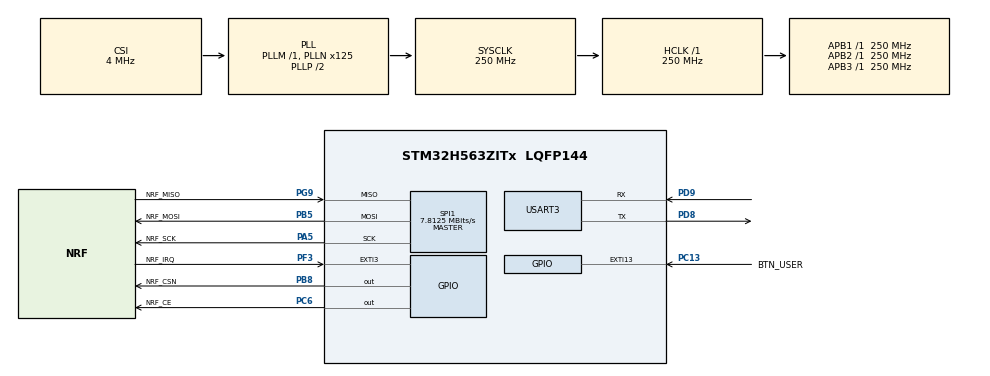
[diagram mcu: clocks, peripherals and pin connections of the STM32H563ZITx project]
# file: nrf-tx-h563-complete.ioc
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CORTEX_M33_NS.userName=CORTEX_M33
Mcu.Family=STM32H5
Mcu.Name=STM32H563ZITx
Mcu.Package=LQFP144
NVIC.EXTI13_IRQn=true\:0\:0\:false\:false\:true\:true\:true\:true
NVIC.EXTI3_IRQn=true\:0\:0\:false\:false\:true\:true\:true\:true
NVIC.PriorityGroup=NVIC_PRIORITYGROUP_4
PA5.GPIO_Label=NRF_SCK
PA5.Mode=Full_Duplex_Master
PA5.Signal=SPI1_SCK
PB5.GPIO_Label=NRF_MOSI
PB5.Mode=Full_Duplex_Master
PB5.Signal=SPI1_MOSI
PB8.GPIO_Label=NRF_CSN
PB8.Signal=GPIO_Output
PC13.GPIO_Label=BTN_USER
PC13.Signal=GPXTI13
PC6.GPIO_Label=NRF_CE
PC6.Signal=GPIO_Output
PD8.Mode=Asynchronous
PD8.Signal=USART3_TX
PD9.Mode=Asynchronous
PD9.Signal=USART3_RX
PF3.GPIO_Label=NRF_IRQ
PF3.GPIO_ModeDefaultEXTI=GPIO_MODE_IT_FALLING
PF3.Signal=GPXTI3
PG9.GPIO_Label=NRF_MISO
PG9.Mode=Full_Duplex_Master
PG9.Signal=SPI1_MISO
ProjectManager.HeapSize=0x200
ProjectManager.StackSize=0x400
ProjectManager.TargetToolchain=STM32CubeIDE
RCC.ADCFreq_Value=250000000
RCC.AHBFreq_Value=250000000
RCC.APB1Freq_Value=250000000
RCC.APB1TimFreq_Value=250000000
RCC.APB2Freq_Value=250000000
RCC.APB2TimFreq_Value=250000000
RCC.APB3Freq_Value=250000000
RCC.CSI_VALUE=4000000
RCC.CortexFreq_Value=250000000
RCC.EPOD_VALUE=4000000
RCC.HCLKFreq_Value=250000000
RCC.HSE_VALUE=25000000
RCC.HSI48_VALUE=48000000
RCC.HSI_VALUE=64000000
RCC.LSE_VALUE=32768
RCC.LSIRC_VALUE=32000
RCC.PLL2FRACN=0
RCC.PLL3FRACN=0
RCC.PLLFRACN=0
RCC.PLLN=125
RCC.SYSCLKFreq_VALUE=250000000
RCC.SYSCLKSource=RCC_SYSCLKSOURCE_PLLCLK
RCC.USBFreq_Value=48000000
RCC.VCOOutputFreq_Value=500000000
SPI1.BaudRatePrescaler=SPI_BAUDRATEPRESCALER_32
SPI1.CalculateBaudRate=7.8125 MBits/s
SPI1.DataSize=SPI_DATASIZE_8BIT
SPI1.Direction=SPI_DIRECTION_2LINES
SPI1.Mode=SPI_MODE_MASTER
SPI1.VirtualType=VM_MASTER
USART3.VirtualMode=VM_ASYNC
VP_BOOTPATH_VS_BOOTPATH.Mode=BP_Activate
VP_MEMORYMAP_VS_MEMORYMAP.Mode=CurAppReg
VP_PWR_VS_DBSignals.Mode=DisableDeadBatterySignals
VP_PWR_VS_LPOM.Mode=PowerOptimisation
VP_PWR_VS_SECSignals.Mode=Security/Privilege
board=custom

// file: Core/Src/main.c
/* USER CODE BEGIN Header */
/**
  ******************************************************************************
  * @file           : main.c
  * @brief          : Main program body
  ******************************************************************************
  * @attention
  *
  * Copyright (c) 2023 STMicroelectronics.
  * All rights reserved.
  *
  * This software is licensed under terms that can be found in the LICENSE file
  * in the root directory of this software component.
  * If no LICENSE file comes with this software, it is provided AS-IS.
  *
  ******************************************************************************
  */
/* USER CODE END Header */
#include "main.h"

/* USER CODE BEGIN Includes */
#include <stdio.h>
#include "nrf24l01.h"
/* USER CODE END Includes */

SPI_HandleTypeDef hspi1;

UART_HandleTypeDef huart3;

void SystemClock_Config(void);
static void MX_GPIO_Init(void);
static void MX_MEMORYMAP_Init(void);
static void MX_SPI1_Init(void);
static void MX_USART3_UART_Init(void);

/* USER CODE BEGIN 0 */

/**************************************
 *           EXAMPLE CODE BEGIN
 **************************************/

// BEGIN REDIRECT
// This is used to redirect printf to UART
#ifdef __GNUC__
#define PUTCHAR_PROTOTYPE int __io_putchar(int ch)
#else
#define PUTCHAR_PROTOTYPE int fputc(int ch, FILE *f)
#endif

PUTCHAR_PROTOTYPE
{
  HAL_UART_Transmit(&huart3, (uint8_t *)&ch, 1, HAL_MAX_DELAY);
  return ch;
}
// END REDIRECT

/* Variables */

// We'll send to different pipes on the receiver by using
// different addresses.
//
// The address for pipe 0 and 1 can contain 40 bits,
// but pipes 2-5 use bytes 39:8 of pipe 1 and only define
// the lower eight bits manually.
//
// We define all bits here to make it easier changing TX
// address later on.
uint8_t addresses[6][5] = {
  {0x00,0x10,0x20,0x30,0x40},
  {0x40,0x30,0x20,0x10,0x00},
  {0x57,0x30,0x20,0x10,0x00},
  {0x96,0x30,0x20,0x10,0x00},
  {0x13,0x30,0x20,0x10,0x00},
  {0x37,0x30,0x20,0x10,0x00},
};
uint8_t currAddr = 0;

// These are used to send different data.
uint8_t charToSend = 'a';
uint8_t length = 1;

/* Functions */

// Just used to easily print what address we're sending to.
void printTXAddress() {
  uint8_t txAddr[5];
  NRF_ReadRegister(NRF_REG_TX_ADDR, txAddr, 5);
  for (int i = 0; i < 5; i++) {
    printf("%2x ", txAddr[i]);
  }
  printf("\r\n");
}

// Runs the example.
void runExample() {
  printf("\r\nStarting up complete TX H5...\r\n");

  // Initialise the library and make the device enter standby-I mode
  if(NRF_Init(&hspi1, NRF_CSN_GPIO_Port, NRF_CSN_Pin, NRF_CE_GPIO_Port, NRF_CE_Pin) != NRF_OK) {
    printf("Couldn't initialise device, are pins correctly connected?\r\n");
    Error_Handler();
  }

  // Resets all registers but keeps the device in standby-I mode
  NRF_Reset();

  // Set the RF channel frequency, it's defined as: 2400 + NRF_REG_RF_CH [MHz]
  NRF_WriteRegisterByte(NRF_REG_RF_CH, 0x0F);

  // Setup the TX address.
  // We also have to set pipe 0 to receive on the same address.
  NRF_WriteRegister(NRF_REG_TX_ADDR, addresses[currAddr], 5);
  NRF_WriteRegister(NRF_REG_RX_ADDR_P0, addresses[currAddr], 5);

  /* To enable ACK payloads we need to setup dynamic payload length. */

  // Enables us to send custom payload with ACKs.
  NRF_SetRegisterBit(NRF_REG_FEATURE, 1);

  // Enables dynamic payload length generally.
  NRF_SetRegisterBit(NRF_REG_FEATURE, 2);

  // Enables dynamic payload on pipe 0.
  NRF_SetRegisterBit(NRF_REG_DYNPD, 0);

  // Continously send packages with one second delay between each.
  // Errors are handled in the interrupt callback for falling edge
  // below.
  for(;;) {
    // We want to send an variable length for each package
    // to check that dynamic payload length is working.
    uint8_t payload[length];
    for (int i = 0; i < length; i++) {
      payload[i] = charToSend;
    }

    // Transmit the package.
    NRF_Transmit(payload, length);

    // Wait one second.
    HAL_Delay(1000);
  }
}

// We've configured the user button to interrupt on rising edge.
void HAL_GPIO_EXTI_Rising_Callback(uint16_t GPIO_Pin) {
  switch (GPIO_Pin) {
    case BTN_USER_Pin:
      // Print info.
      NRF_PrintStatus();
      NRF_PrintFIFOStatus();

      // Send special message.
      uint8_t special[19] = "user button pressed";
      NRF_Transmit(special, 19);
      break;
    default:
      printf("Unhandled rising interrupt...\r\n");
      break;
  }
}

// We've configured the NRF_IRQ to trigger interrupt
// callback on falling edge.
void HAL_GPIO_EXTI_Falling_Callback(uint16_t GPIO_Pin) {
  switch (GPIO_Pin) {
    case NRF_IRQ_Pin:
      {
        uint8_t status = NRF_ReadStatus();
        if (status & (1<<4)) {
          // MAX_RT is set in status register.
          // We've tried resending the message the maximum
          // amount of times.
          printf("MAX_RT address: ");
          printTXAddress();

          // Reset MAX_RT in status register.
          NRF_SetRegisterBit(NRF_REG_STATUS, 4);
        }

        if (status & (1<<5)) {
          // TX_DS is set in status register.
          // This means we've gotten an ACK from the receiver
          // and the message was thus succesfully received.
          printf("Successful TX to address: ");
          printTXAddress();
          NRF_SetRegisterBit(NRF_REG_STATUS, 5); // Reset TX_DS

          // Send on the next address next time around.
          currAddr++;
          currAddr %= 6;
          length++;
          if (length > 32) {
            length = 1;
          }
          NRF_WriteRegister(NRF_REG_TX_ADDR, addresses[currAddr], 5);
          NRF_WriteRegister(NRF_REG_RX_ADDR_P0, addresses[currAddr], 5);
        }

        if (status & (1<<6)) {
          // RX_DR
          uint8_t length = 0x00;
          NRF_SendReadCommand(NRF_CMD_R_RX_PL_WID, &length, 1);
          uint8_t payload[length];
          NRF_ReadPayload(payload, length);
          printf("Received data: ");
          for (int i = 0; i < length; i++) {
            printf("%c", payload[i]);
          }
          printf("\r\n");
          charToSend++;
          if (charToSend=='z') {
            charToSend = 'a';
          }

          NRF_SetRegisterBit(NRF_REG_STATUS, 6); // Reset RX_DR
        }
      }
      break;
    default:
      printf("Unhandled falling interrupt...\r\n");
      break;
  }
}

/**************************************
 *           EXAMPLE CODE END
 **************************************/

/* USER CODE END 0 */

int main(void)
{

  /* MCU Configuration--------------------------------------------------------*/

  /* Reset of all peripherals, Initializes the Flash interface and the Systick. */
  HAL_Init();

  /* Configure the system clock */
  SystemClock_Config();

  /* Initialize all configured peripherals */
  MX_GPIO_Init();
  MX_MEMORYMAP_Init();
  MX_SPI1_Init();
  MX_USART3_UART_Init();
  /* USER CODE BEGIN 2 */
  runExample();
  /* USER CODE END 2 */

  /* Infinite loop */
  while (1)
  {

  }
}

void SystemClock_Config(void)
{
  RCC_OscInitTypeDef RCC_OscInitStruct = {0};
  RCC_ClkInitTypeDef RCC_ClkInitStruct = {0};

  /** Configure the main internal regulator output voltage
  */
  __HAL_PWR_VOLTAGESCALING_CONFIG(PWR_REGULATOR_VOLTAGE_SCALE0);

  while(!__HAL_PWR_GET_FLAG(PWR_FLAG_VOSRDY)) {}

  /** Initializes the RCC Oscillators according to the specified parameters
  * in the RCC_OscInitTypeDef structure.
  */
  RCC_OscInitStruct.OscillatorType = RCC_OSCILLATORTYPE_CSI;
  RCC_OscInitStruct.CSIState = RCC_CSI_ON;
  RCC_OscInitStruct.CSICalibrationValue = RCC_CSICALIBRATION_DEFAULT;
  RCC_OscInitStruct.PLL.PLLState = RCC_PLL_ON;
  RCC_OscInitStruct.PLL.PLLSource = RCC_PLL1_SOURCE_CSI;
  RCC_OscInitStruct.PLL.PLLM = 1;
  RCC_OscInitStruct.PLL.PLLN = 125;
  RCC_OscInitStruct.PLL.PLLP = 2;
  RCC_OscInitStruct.PLL.PLLQ = 2;
  RCC_OscInitStruct.PLL.PLLR = 2;
  RCC_OscInitStruct.PLL.PLLRGE = RCC_PLL1_VCIRANGE_2;
  RCC_OscInitStruct.PLL.PLLVCOSEL = RCC_PLL1_VCORANGE_WIDE;
  RCC_OscInitStruct.PLL.PLLFRACN = 0;
  if (HAL_RCC_OscConfig(&RCC_OscInitStruct) != HAL_OK)
  {
    Error_Handler();
  }

  /** Initializes the CPU, AHB and APB buses clocks
  */
  RCC_ClkInitStruct.ClockType = RCC_CLOCKTYPE_HCLK|RCC_CLOCKTYPE_SYSCLK
                              |RCC_CLOCKTYPE_PCLK1|RCC_CLOCKTYPE_PCLK2
                              |RCC_CLOCKTYPE_PCLK3;
  RCC_ClkInitStruct.SYSCLKSource = RCC_SYSCLKSOURCE_PLLCLK;
  RCC_ClkInitStruct.AHBCLKDivider = RCC_SYSCLK_DIV1;
  RCC_ClkInitStruct.APB1CLKDivider = RCC_HCLK_DIV1;
  RCC_ClkInitStruct.APB2CLKDivider = RCC_HCLK_DIV1;
  RCC_ClkInitStruct.APB3CLKDivider = RCC_HCLK_DIV1;

  if (HAL_RCC_ClockConfig(&RCC_ClkInitStruct, FLASH_LATENCY_5) != HAL_OK)
  {
    Error_Handler();
  }
}

static void MX_MEMORYMAP_Init(void)
{

}

static void MX_SPI1_Init(void)
{

  /* SPI1 parameter configuration*/
  hspi1.Instance = SPI1;
  hspi1.Init.Mode = SPI_MODE_MASTER;
  hspi1.Init.Direction = SPI_DIRECTION_2LINES;
  hspi1.Init.DataSize = SPI_DATASIZE_8BIT;
  hspi1.Init.CLKPolarity = SPI_POLARITY_LOW;
  hspi1.Init.CLKPhase = SPI_PHASE_1EDGE;
  hspi1.Init.NSS = SPI_NSS_SOFT;
  hspi1.Init.BaudRatePrescaler = SPI_BAUDRATEPRESCALER_32;
  hspi1.Init.FirstBit = SPI_FIRSTBIT_MSB;
  hspi1.Init.TIMode = SPI_TIMODE_DISABLE;
  hspi1.Init.CRCCalculation = SPI_CRCCALCULATION_DISABLE;
  hspi1.Init.CRCPolynomial = 0x7;
  hspi1.Init.NSSPMode = SPI_NSS_PULSE_ENABLE;
  hspi1.Init.NSSPolarity = SPI_NSS_POLARITY_LOW;
  hspi1.Init.FifoThreshold = SPI_FIFO_THRESHOLD_01DATA;
  hspi1.Init.MasterSSIdleness = SPI_MASTER_SS_IDLENESS_00CYCLE;
  hspi1.Init.MasterInterDataIdleness = SPI_MASTER_INTERDATA_IDLENESS_00CYCLE;
  hspi1.Init.MasterReceiverAutoSusp = SPI_MASTER_RX_AUTOSUSP_DISABLE;
  hspi1.Init.MasterKeepIOState = SPI_MASTER_KEEP_IO_STATE_DISABLE;
  hspi1.Init.IOSwap = SPI_IO_SWAP_DISABLE;
  hspi1.Init.ReadyMasterManagement = SPI_RDY_MASTER_MANAGEMENT_INTERNALLY;
  hspi1.Init.ReadyPolarity = SPI_RDY_POLARITY_HIGH;
  if (HAL_SPI_Init(&hspi1) != HAL_OK)
  {
    Error_Handler();
  }

}

static void MX_USART3_UART_Init(void)
{

  huart3.Instance = USART3;
  huart3.Init.BaudRate = 115200;
  huart3.Init.WordLength = UART_WORDLENGTH_8B;
  huart3.Init.StopBits = UART_STOPBITS_1;
  huart3.Init.Parity = UART_PARITY_NONE;
  huart3.Init.Mode = UART_MODE_TX_RX;
  huart3.Init.HwFlowCtl = UART_HWCONTROL_NONE;
  huart3.Init.OverSampling = UART_OVERSAMPLING_16;
  huart3.Init.OneBitSampling = UART_ONE_BIT_SAMPLE_DISABLE;
  huart3.Init.ClockPrescaler = UART_PRESCALER_DIV1;
  huart3.AdvancedInit.AdvFeatureInit = UART_ADVFEATURE_NO_INIT;
  if (HAL_UART_Init(&huart3) != HAL_OK)
  {
    Error_Handler();
  }
  if (HAL_UARTEx_SetTxFifoThreshold(&huart3, UART_TXFIFO_THRESHOLD_1_8) != HAL_OK)
  {
    Error_Handler();
  }
  if (HAL_UARTEx_SetRxFifoThreshold(&huart3, UART_RXFIFO_THRESHOLD_1_8) != HAL_OK)
  {
    Error_Handler();
  }
  if (HAL_UARTEx_DisableFifoMode(&huart3) != HAL_OK)
  {
    Error_Handler();
  }

}

static void MX_GPIO_Init(void)
{
  GPIO_InitTypeDef GPIO_InitStruct = {0};

  /* GPIO Ports Clock Enable */
  __HAL_RCC_GPIOC_CLK_ENABLE();
  __HAL_RCC_GPIOF_CLK_ENABLE();
  __HAL_RCC_GPIOA_CLK_ENABLE();
  __HAL_RCC_GPIOD_CLK_ENABLE();
  __HAL_RCC_GPIOG_CLK_ENABLE();
  __HAL_RCC_GPIOB_CLK_ENABLE();

  /*Configure GPIO pin Output Level */
  HAL_GPIO_WritePin(NRF_CE_GPIO_Port, NRF_CE_Pin, GPIO_PIN_RESET);

  /*Configure GPIO pin Output Level */
  HAL_GPIO_WritePin(NRF_CSN_GPIO_Port, NRF_CSN_Pin, GPIO_PIN_RESET);

  /*Configure GPIO pin : BTN_USER_Pin */
  GPIO_InitStruct.Pin = BTN_USER_Pin;
  GPIO_InitStruct.Mode = GPIO_MODE_IT_RISING;
  GPIO_InitStruct.Pull = GPIO_NOPULL;
  HAL_GPIO_Init(BTN_USER_GPIO_Port, &GPIO_InitStruct);

  /*Configure GPIO pin : NRF_IRQ_Pin */
  GPIO_InitStruct.Pin = NRF_IRQ_Pin;
  GPIO_InitStruct.Mode = GPIO_MODE_IT_FALLING;
  GPIO_InitStruct.Pull = GPIO_NOPULL;
  HAL_GPIO_Init(NRF_IRQ_GPIO_Port, &GPIO_InitStruct);

  /*Configure GPIO pin : NRF_CE_Pin */
  GPIO_InitStruct.Pin = NRF_CE_Pin;
  GPIO_InitStruct.Mode = GPIO_MODE_OUTPUT_PP;
  GPIO_InitStruct.Pull = GPIO_NOPULL;
  GPIO_InitStruct.Speed = GPIO_SPEED_FREQ_LOW;
  HAL_GPIO_Init(NRF_CE_GPIO_Port, &GPIO_InitStruct);

  /*Configure GPIO pin : NRF_CSN_Pin */
  GPIO_InitStruct.Pin = NRF_CSN_Pin;
  GPIO_InitStruct.Mode = GPIO_MODE_OUTPUT_PP;
  GPIO_InitStruct.Pull = GPIO_NOPULL;
  GPIO_InitStruct.Speed = GPIO_SPEED_FREQ_LOW;
  HAL_GPIO_Init(NRF_CSN_GPIO_Port, &GPIO_InitStruct);

  /* EXTI interrupt init*/
  HAL_NVIC_SetPriority(EXTI3_IRQn, 0, 0);
  HAL_NVIC_EnableIRQ(EXTI3_IRQn);

  HAL_NVIC_SetPriority(EXTI13_IRQn, 0, 0);
  HAL_NVIC_EnableIRQ(EXTI13_IRQn);

}

void Error_Handler(void)
{
  __disable_irq();
  while (1)
  {
  }
}
